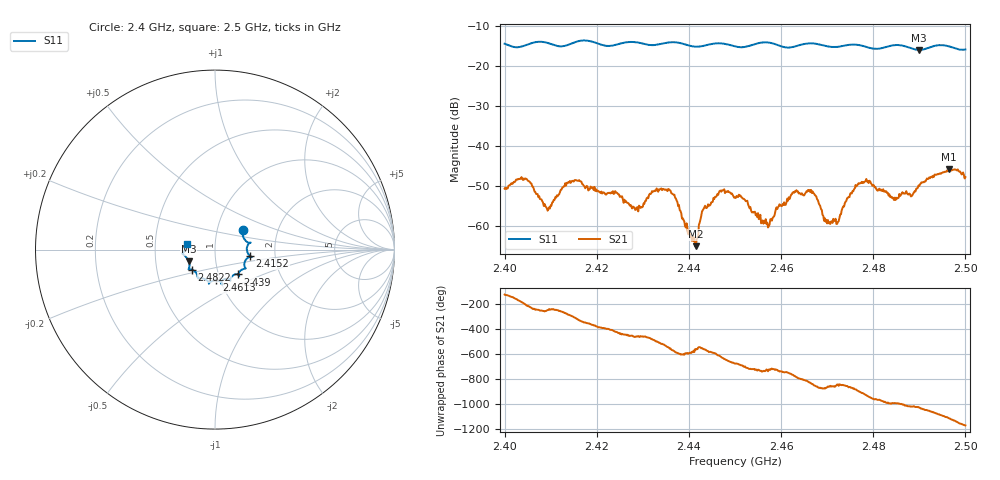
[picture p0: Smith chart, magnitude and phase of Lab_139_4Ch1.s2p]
# Hz S RI R 50
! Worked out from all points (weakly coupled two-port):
!   601 points, 2.4 GHz to 2.5 GHz, reference 50 ohm
!   highest |S21| = -45.75 dB at 2.4965 GHz (marker M1); lowest = -65.0 dB at 2.4415 GHz (marker M2)
!   lowest |S11| = -15.9 dB at 2.4898 GHz (marker M3), VSWR 1.38, Z = 37 - j5.03 ohm
!   |S11| at or under -10 dB: start of sweep to end of sweep
!   S12 and S22 are empty: the file has one direction only
!   S11 on the Smith chart (normalised r, x): 2.4 GHz: 1.33, +0.31; 2.4152 GHz: 1.48, -0.11; 2.439 GHz: 1.24, -0.36; 2.4613 GHz: 0.96, -0.34; 2.4822 GHz: 0.76, -0.17; 2.5 GHz: 0.72, +0.05
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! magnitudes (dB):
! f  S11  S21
! 2.4 GHz  -14.4  -50.6
! 2.4047 GHz  -14.7  -48.1
! 2.4093 GHz  -14.2  -56.1
! 2.4152 GHz  -14.1  -48.5
! 2.4167 GHz  -13.6  -48.9
! 2.4285 GHz  -14.0  -55.9
! 2.4333 GHz  -14.6  -51.4
! 2.4363 GHz  -14.0  -51.9
! 2.439 GHz  -14.5  -58.9
! 2.4415 GHz  -15.1  -65.0
! 2.4433 GHz  -14.9  -55.3
! 2.45 GHz  -15.0  -52.9
! 2.457 GHz  -14.0  -59.1
! 2.4613 GHz  -15.3  -53.1
! 2.4667 GHz  -14.3  -51.7
! 2.4705 GHz  -15.1  -59.0
! 2.477 GHz  -14.7  -49.4
! 2.4822 GHz  -15.4  -50.8
! 2.4833 GHz  -15.0  -52.3
! 2.4898 GHz  -15.9  -49.8
! 2.4965 GHz  -15.1  -45.8
! 2.5 GHz  -15.8  -47.8
